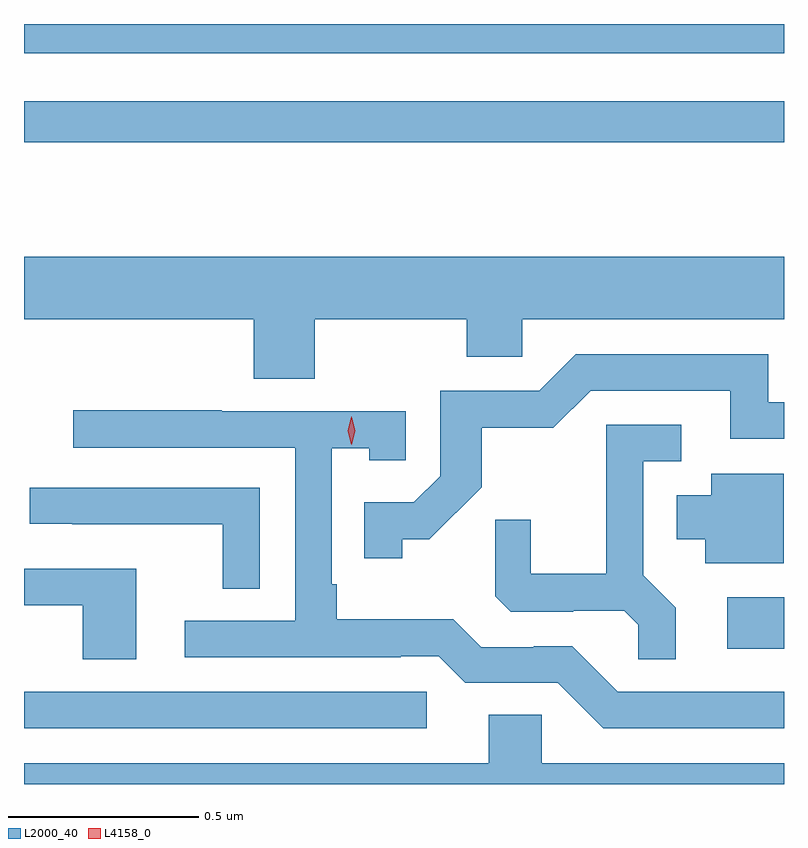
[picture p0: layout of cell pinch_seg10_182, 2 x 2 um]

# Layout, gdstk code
import gdstk
lib = gdstk.Library(unit=1e-6, precision=1e-09)
def R(c, l, rs):  # rectangles x0, y0, x1, y1
    for r in rs: c.add(gdstk.rectangle(r[:2], r[2:], *l))
def P(c, l, *ps):  # polygons
    for p in ps: c.add(gdstk.Polygon(p, *l))
L2000_40 = (2000, 40)
L4158_0 = (4158, 0)

pinch_seg10_182 = lib.new_cell('pinch_seg10_182')
R(pinch_seg10_182, L2000_40, [(689.67,1263.276,690.73,1263.372), (691.521,1263.485,691.67,1263.621), (689.67,1264.818,691.67,1264.926), (689.67,1265.052,691.67,1265.129)])
P(pinch_seg10_182, L2000_40, [(690.435,1264.352),(690.835,1264.352),(690.835,1264.254),(690.981,1264.254),(690.981,1264.352),(691.67,1264.352),(691.67,1264.516),(689.67,1264.516),(689.67,1264.352),(690.275,1264.352),(690.275,1264.195),(690.435,1264.195)],
  [(690.666,1263.773),(690.736,1263.773),(690.874,1263.91),(690.874,1264.066),(691.063,1264.066),(691.161,1264.164),(691.529,1264.164),(691.529,1264.038),(691.67,1264.038),(691.67,1264.134),(691.628,1264.134),(691.628,1264.26),(691.122,1264.26),(691.026,1264.164),(690.765,1264.164),(690.765,1263.939),(690.696,1263.87),(690.565,1263.87),(690.565,1263.723),(690.666,1263.723)],
  [(691.67,1263.372),(691.233,1263.372),(691.113,1263.492),(691.012,1263.492),(691.012,1263.489),(690.873,1263.489),(690.8,1263.562),(690.493,1263.562),(690.493,1263.655),(690.48,1263.655),(690.48,1264.013),(690.579,1264.013),(690.579,1263.981),(690.675,1263.981),(690.675,1264.11),(690.191,1264.11),(690.191,1264.113),(689.799,1264.113),(689.799,1264.014),(690.384,1264.014),(690.384,1263.558),(690.093,1263.558),(690.093,1263.462),(690.662,1263.462),(690.662,1263.465),(690.762,1263.465),(690.831,1263.396),(691.074,1263.396),(691.194,1263.276),(691.67,1263.276)],
  [(691.385,1263.593),(691.299,1263.679),(691.299,1263.978),(691.399,1263.978),(691.399,1264.074),(691.202,1264.074),(691.202,1263.682),(691.004,1263.682),(691.004,1263.825),(690.91,1263.825),(690.91,1263.623),(690.951,1263.582),(691.116,1263.582),(691.116,1263.585),(691.25,1263.585),(691.287,1263.548),(691.287,1263.457),(691.385,1263.457)],
  [(691.669,1263.946),(691.478,1263.946),(691.478,1263.889),(691.388,1263.889),(691.388,1263.773),(691.463,1263.773),(691.463,1263.71),(691.669,1263.71)],
  [(690.291,1263.909),(689.685,1263.909),(689.685,1263.814),(689.797,1263.814),(689.797,1263.813),(690.193,1263.813),(690.193,1263.643),(690.291,1263.643)],
  [(689.965,1263.696),(689.67,1263.696),(689.67,1263.6),(689.825,1263.6),(689.825,1263.457),(689.965,1263.457)],
  [(691.67,1263.184),(691.032,1263.184),(691.032,1263.311),(690.893,1263.311),(690.893,1263.184),(689.67,1263.184),(689.67,1263.129),(691.67,1263.129)])
P(pinch_seg10_182, L4158_0, [(690.532,1264.022),(690.531,1264.023),(690.522,1264.059),(690.531,1264.095),(690.532,1264.095),(690.532,1264.095),(690.542,1264.059),(690.532,1264.023)])

lib.write_gds('pinch_seg10_182.gds')
